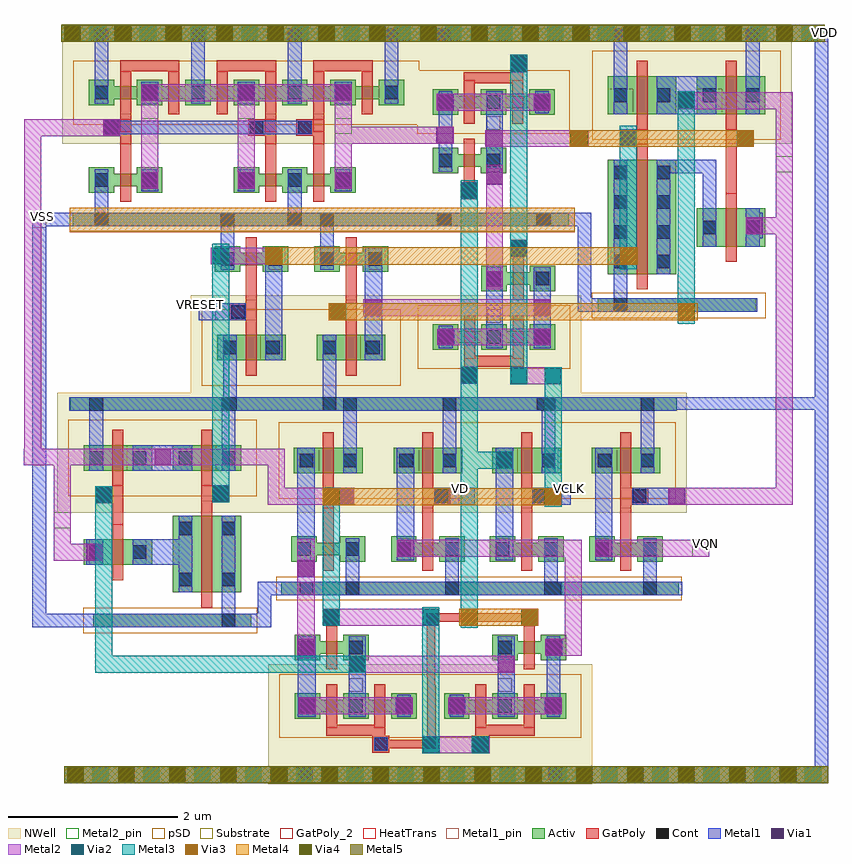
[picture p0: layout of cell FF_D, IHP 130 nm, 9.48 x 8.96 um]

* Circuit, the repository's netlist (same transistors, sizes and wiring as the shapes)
* Extracted by KLayout with SG13G2 LVS runset on : 26/01/2026 22:16

.SUBCKT FF_D VRESET VD VCLK
X$159 \$4 VRESET \$5 \$I24 INV_D1
X$161 \$4 VCLK \$5 \$I21 INV_D1
X$163 \$4 \$I23 \$5 \$I25 INV_D1
X$164 VCLK \$I21 \$5 \$4 \$I27 \$I28 TG_2C
X$168 \$I21 VCLK \$5 \$4 \$I27 \$I26 TG_2C
X$170 \$4 \$5 \$I24 \$I27 \$I22 NAND_D2
X$172 \$4 VD \$5 \$I26 INV_D1
X$175 \$4 \$I22 \$5 \$I28 INV_D1
X$183 \$I21 VCLK \$5 \$4 \$I29 \$I30 TG_2C
X$186 VCLK \$I21 \$5 \$4 \$I29 \$I31 TG_2C
X$189 \$I29 \$I24 \$5 \$4 \$I23 NAND_D3
X$197 \$4 \$I23 \$5 \$I31 INV_D1
X$198 \$I22 \$4 \$I30 \$5 INV_D3
.ENDS FF_D

.SUBCKT NAND_D2 \$1 \$2 VB VA \$5
M$1 \$5 VA \$6 \$1 sg13_lv_nmos L=0.13u W=0.3u AS=0.102p AD=0.102p PS=1.28u
+ PD=1.28u
M$2 \$6 VB \$1 \$1 sg13_lv_nmos L=0.13u W=0.9u AS=0.306p AD=0.306p PS=2.48u
+ PD=2.48u
M$3 \$5 VB \$2 \$2 sg13_lv_pmos L=0.13u W=0.3u AS=0.102p AD=0.102p PS=1.28u
+ PD=1.28u
M$4 \$2 VA \$5 \$2 sg13_lv_pmos L=0.13u W=0.3u AS=0.102p AD=0.102p PS=1.28u
+ PD=1.28u
.ENDS NAND_D2

.SUBCKT INV_D3 \$1 \$2 \$4 \$10
M$1 \$4 \$1 \$2 \$2 sg13_lv_nmos L=0.13u W=0.45u AS=0.2565p AD=0.2565p PS=3.42u
+ PD=3.42u
M$4 \$10 \$1 \$4 \$10 sg13_lv_pmos L=0.13u W=0.9u AS=0.378p AD=0.378p PS=5.04u
+ PD=5.04u
.ENDS INV_D3

.SUBCKT TG_2C \$1 \$2 \$3 \$4 VOUT VIN
M$1 VIN \$2 VOUT \$3 sg13_lv_pmos L=0.13u W=0.3u AS=0.156p AD=0.156p PS=2.08u
+ PD=2.08u
M$3 VIN \$1 VOUT \$4 sg13_lv_nmos L=0.13u W=0.15u AS=0.1005p AD=0.1005p
+ PS=1.34u PD=1.34u
.ENDS TG_2C

.SUBCKT INV_D1 \$1 VIN \$3 VOUT
M$1 \$3 VIN VOUT \$3 sg13_lv_pmos L=0.13u W=0.3u AS=0.102p AD=0.102p PS=1.28u
+ PD=1.28u
M$2 \$1 VIN VOUT \$1 sg13_lv_nmos L=0.13u W=0.15u AS=0.1005p AD=0.1005p
+ PS=1.34u PD=1.34u
.ENDS INV_D1

.SUBCKT NAND_D3 VA VB \$3 \$4 \$5
M$1 \$5 VA \$6 \$4 sg13_lv_nmos L=0.13u W=0.45u AS=0.153p AD=0.153p PS=1.58u
+ PD=1.58u
M$2 \$6 VB \$4 \$4 sg13_lv_nmos L=0.13u W=1.35u AS=0.459p AD=0.459p PS=3.38u
+ PD=3.38u
M$3 \$3 VA \$5 \$3 sg13_lv_pmos L=0.13u W=0.45u AS=0.153p AD=0.153p PS=1.58u
+ PD=1.58u
M$4 \$5 VB \$3 \$3 sg13_lv_pmos L=0.13u W=0.45u AS=0.153p AD=0.153p PS=1.58u
+ PD=1.58u
.ENDS NAND_D3

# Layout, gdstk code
from math import pi, radians
import gdstk
lib = gdstk.Library(unit=1e-6, precision=5e-09)
def R(c, l, rs):  # rectangles x0, y0, x1, y1
    for r in rs: c.add(gdstk.rectangle(r[:2], r[2:], *l))
def A(c, l, x, y, w, h, nx, ny, dx, dy):  # array of equal rectangles
    R(c, l, [(x+i*dx, y+j*dy, x+i*dx+w, y+j*dy+h) for i in range(nx) for j in range(ny)])
Activ = (1, 0)
GatPoly = (5, 0)
GatPoly_2 = (5, 2)
Cont = (6, 0)
Metal1 = (8, 0)
Metal1_pin = (8, 2)
Metal2 = (10, 0)
Metal2_pin = (10, 2)
pSD = (14, 0)
Via1 = (19, 0)
Via2 = (29, 0)
Metal3 = (30, 0)
NWell = (31, 0)
Substrate = (40, 0)
Via3 = (49, 0)
Metal4 = (50, 0)
HeatTrans = (51, 0)
Via4 = (66, 0)
Metal5 = (67, 0)

pmos_3 = lib.new_cell('pmos$3')
R(pmos_3, Activ, [(0,0,0.3,0.3), (0,0,0.81,0.45), (0.51,0,0.81,0.3)])
R(pmos_3, GatPoly, [(0.34,-0.18,0.47,0.63), (0.34,-0.18,0.47,0.63)])
R(pmos_3, Cont, [(0.07,0.145,0.23,0.305), (0.58,0.145,0.74,0.305)])
R(pmos_3, Metal1, [(0.07,0,0.23,0.45), (0.07,0,0.23,0.45), (0.58,0,0.74,0.45), (0.58,0,0.74,0.45)])
R(pmos_3, pSD, [(-0.18,-0.3,0.99,0.75)])
R(pmos_3, NWell, [(-0.31,-0.345,1.12,0.76)])
R(pmos_3, Substrate, [(0.51,0,0.81,0.3)])
R(pmos_3, HeatTrans, [(0.34,-0.18,0.47,0.63)])
pmos_3.add(gdstk.Label('pmos', (0.405,0.225), layer=63, texttype=0))
pmos_3.add(gdstk.Label('pmos', (0.405,0.225), layer=51, texttype=0))

nmos_1_1 = lib.new_cell('nmos$1$1')
R(nmos_1_1, Activ, [(0,0,0.3,0.3), (0,0,0.81,1.35), (0.51,0,0.81,0.3)])
R(nmos_1_1, GatPoly, [(0.34,-0.18,0.47,1.53)])
R(nmos_1_1, GatPoly_2, [(0.34,-0.18,0.47,1.53)])
A(nmos_1_1, Cont, 0.07, 0.07, 0.16, 0.16, 1, 4, 0, 0.35)
A(nmos_1_1, Cont, 0.58, 0.07, 0.16, 0.16, 1, 4, 0, 0.35)
R(nmos_1_1, Metal1, [(0.07,0,0.23,1.35), (0.58,0,0.74,1.35)])
R(nmos_1_1, Metal1_pin, [(0.07,0,0.23,1.35), (0.58,0,0.74,1.35)])
R(nmos_1_1, HeatTrans, [(0.34,-0.18,0.47,1.53)])
nmos_1_1.add(gdstk.Label('nmos', (0.405,0.675), layer=63, texttype=0))
nmos_1_1.add(gdstk.Label('nmos', (0.405,0.675), layer=51, texttype=0))

nmos_4 = lib.new_cell('nmos$4')
R(nmos_4, Activ, [(0,0,0.3,0.3), (0,0,0.81,0.45), (0.51,0,0.81,0.3)])
R(nmos_4, GatPoly, [(0.34,-0.18,0.47,0.63)])
R(nmos_4, GatPoly_2, [(0.34,-0.18,0.47,0.63)])
R(nmos_4, Cont, [(0.07,0.145,0.23,0.305), (0.58,0.145,0.74,0.305)])
R(nmos_4, Metal1, [(0.07,0,0.23,0.45), (0.58,0,0.74,0.45)])
R(nmos_4, Metal1_pin, [(0.07,0,0.23,0.45), (0.58,0,0.74,0.45)])
R(nmos_4, HeatTrans, [(0.34,-0.18,0.47,0.63)])
nmos_4.add(gdstk.Label('nmos', (0.405,0.225), layer=63, texttype=0))
nmos_4.add(gdstk.Label('nmos', (0.405,0.225), layer=51, texttype=0))

nand_d3 = lib.new_cell('NAND_D3')
R(nand_d3, Activ, [(-0.055,-1.08,1.805,-0.92), (0.04,2.105,1.9,2.265)])
R(nand_d3, GatPoly, [(1.45,0.31,1.58,1.07), (0.4,0.78,0.53,1.07), (1.58,0.865,1.78,1.065), (0.2,0.875,0.4,1.075)])
R(nand_d3, Cont, [(0.13,-1.08,0.29,-0.92), (1.595,0.885,1.755,1.045), (0.22,0.895,0.38,1.055), (0.13,2.105,0.29,2.265), (1.69,2.105,1.85,2.265)])
R(nand_d3, Metal1, [(0.13,-1.08,0.29,-0.545), (1.69,-0.21,1.89,0.09), (1.595,0.885,1.755,1.045), (0.22,0.895,0.38,1.055), (0.64,1.25,1.34,1.7), (0.13,1.55,0.29,2.265), (1.69,1.55,1.85,2.265)])
R(nand_d3, Metal1_pin, [(0.13,-1.08,0.29,-0.92), (1.595,0.885,1.755,1.045), (0.22,0.895,0.38,1.055), (0.13,2.105,0.29,2.265), (1.69,2.105,1.85,2.265)])
R(nand_d3, Metal2, [(1.69,-0.165,2.24,0.035)])
R(nand_d3, Metal2_pin, [(2.04,0.565,2.24,0.755)])
R(nand_d3, pSD, [(-0.13,-1.155,1.925,-0.855)])
R(nand_d3, Via1, [(1.69,-0.16,1.88,0.03), (0.89,1.315,1.08,1.505)])
R(nand_d3, NWell, [(-0.25,2.01,2.23,2.315)])
nand_d3.add(gdstk.FlexPath([(1.26,0.13),(1.26,0.635),(0.72,0.635),(0.72,0.44)], 0.16, ends="flush", simple_path=True, layer=8, datatype=0))  # Metal1
nand_d3.add(gdstk.FlexPath([(0.885,1.41),(2.14,1.41),(2.14,-0.165)], 0.2, ends="flush", simple_path=True, layer=10, datatype=0))  # Metal2
nand_d3.add(gdstk.Reference(pmos_3, (1.92,1.25), rotation=pi, x_reflection=True))
nand_d3.add(gdstk.Reference(pmos_3, (0.87,1.25), rotation=pi, x_reflection=True))
nand_d3.add(gdstk.Reference(nmos_1_1, (0.87,-0.635), rotation=pi, x_reflection=True))
nand_d3.add(gdstk.Reference(nmos_4, (1.92,-0.31), rotation=pi, x_reflection=True))
nand_d3.add(gdstk.Label('VA', (1.67,0.98), layer=8, texttype=2))
nand_d3.add(gdstk.Label('VB', (0.305,0.99), layer=8, texttype=2))
nand_d3.add(gdstk.Label('VDD', (1.715,2.225), layer=8, texttype=2))
nand_d3.add(gdstk.Label('VDD', (0.155,2.225), layer=8, texttype=2))
nand_d3.add(gdstk.Label('VSS', (0.2,-0.955), layer=8, texttype=2))
nand_d3.add(gdstk.Label('VOUT', (2.185,0.7), layer=10, texttype=2))
nand_d3.add(gdstk.Label('VB', (0.33,1), layer=8, texttype=25))
nand_d3.add(gdstk.Label('VA', (1.7,0.94), layer=8, texttype=25))

nmos_3 = lib.new_cell('nmos$3')
R(nmos_3, Activ, [(0,-0.05,0.3,0.25), (0.57,-0.05,0.87,0.25), (0,0.025,0.87,0.175)])
R(nmos_3, GatPoly, [(0.37,-0.155,0.5,0.585)])
R(nmos_3, GatPoly_2, [(0.37,-0.155,0.5,0.585)])
R(nmos_3, Cont, [(0.07,0.02,0.23,0.18), (0.64,0.02,0.8,0.18)])
R(nmos_3, Metal1, [(0.07,-0.03,0.23,0.23), (0.64,-0.03,0.8,0.23)])
R(nmos_3, Metal1_pin, [(0.07,-0.03,0.23,0.23), (0.64,-0.03,0.8,0.23)])
R(nmos_3, HeatTrans, [(0.37,-0.155,0.5,0.585)])
nmos_3.add(gdstk.Label('nmos', (0.435,0.1), layer=63, texttype=0))
nmos_3.add(gdstk.Label('nmos', (0.435,0.1), layer=51, texttype=0))

pmos_1 = lib.new_cell('pmos$1')
R(pmos_1, Activ, [(0,0.205,0.81,0.505), (0,0.205,0.3,0.505), (0.51,0.205,0.81,0.505)])
R(pmos_1, GatPoly, [(0.34,0.025,0.47,0.685), (0.34,0.025,0.47,0.685)])
R(pmos_1, Cont, [(0.07,0.275,0.23,0.435), (0.58,0.275,0.74,0.435)])
R(pmos_1, Metal1, [(0.07,0.205,0.23,0.505), (0.07,0.205,0.23,0.505), (0.58,0.205,0.74,0.505), (0.58,0.205,0.74,0.505)])
R(pmos_1, pSD, [(-0.18,-0.095,0.99,0.805)])
R(pmos_1, NWell, [(-0.31,-0.26,1.12,0.815)])
R(pmos_1, Substrate, [(0.51,0.205,0.81,0.505)])
R(pmos_1, HeatTrans, [(0.34,0.025,0.47,0.685)])
pmos_1.add(gdstk.Label('pmos', (0.405,0.355), layer=63, texttype=0))
pmos_1.add(gdstk.Label('pmos', (0.405,0.355), layer=51, texttype=0))

inv_d1 = lib.new_cell('INV_D1')
R(inv_d1, Activ, [(-0.63,-1.05,0.545,-0.89), (-0.61,1.125,0.55,1.285)])
R(inv_d1, GatPoly, [(-0.075,-0.02,0.055,0.21), (-0.275,0.02,-0.075,0.22)])
R(inv_d1, Cont, [(-0.375,-1.05,-0.215,-0.89), (-0.25,0.04,-0.09,0.2), (-0.345,1.125,-0.185,1.285)])
R(inv_d1, Metal1, [(-0.375,-1.05,-0.215,-0.635), (0.15,-0.64,0.355,0.69), (-0.255,0.035,-0.085,0.205), (-0.345,0.69,-0.185,1.285)])
R(inv_d1, Metal1_pin, [(-0.375,-1.05,-0.215,-0.89), (-0.345,1.125,-0.185,1.285)])
R(inv_d1, pSD, [(-0.67,-1.11,0.6,-0.83)])
R(inv_d1, NWell, [(-0.725,1,0.705,1.335)])
inv_d1.add(gdstk.Reference(nmos_3, (-0.445,-0.605)))
inv_d1.add(gdstk.Reference(pmos_1, (-0.415,0.185)))
inv_d1.add(gdstk.Label('VDD', (-0.215,1.26), layer=8, texttype=2))
inv_d1.add(gdstk.Label('VSS', (-0.26,-0.915), layer=8, texttype=2))
inv_d1.add(gdstk.Label('VIN', (-0.17,0.135), layer=8, texttype=25))
inv_d1.add(gdstk.Label('VOUT', (0.255,0.145), layer=8, texttype=25))

nmos = lib.new_cell('nmos')
R(nmos, Activ, [(0,0.025,0.3,0.325), (0.57,0.025,0.87,0.325), (0,0.1,0.87,0.25)])
R(nmos, GatPoly, [(0.37,-0.08,0.5,0.43)])
R(nmos, GatPoly_2, [(0.37,-0.08,0.5,0.43)])
R(nmos, Cont, [(0.07,0.095,0.23,0.255), (0.64,0.095,0.8,0.255)])
R(nmos, Metal1, [(0.07,0.045,0.23,0.305), (0.64,0.045,0.8,0.305)])
R(nmos, Metal1_pin, [(0.07,0.045,0.23,0.305), (0.64,0.045,0.8,0.305)])
R(nmos, HeatTrans, [(0.37,-0.08,0.5,0.43)])
nmos.add(gdstk.Label('nmos', (0.435,0.175), layer=63, texttype=0))
nmos.add(gdstk.Label('nmos', (0.435,0.175), layer=51, texttype=0))

pmos = lib.new_cell('pmos')
R(pmos, Activ, [(0,-0.04,0.3,0.26), (0.57,-0.04,0.87,0.26), (0,0.035,0.87,0.185)])
R(pmos, GatPoly, [(0.37,-0.145,0.5,0.365), (0.37,-0.145,0.5,0.365)])
R(pmos, Cont, [(0.07,0.03,0.23,0.19), (0.64,0.03,0.8,0.19)])
R(pmos, Metal1, [(0.07,-0.02,0.23,0.24), (0.07,-0.02,0.23,0.24), (0.64,-0.02,0.8,0.24), (0.64,-0.02,0.8,0.24)])
R(pmos, pSD, [(-0.18,-0.265,1.05,0.485)])
R(pmos, NWell, [(-0.31,-0.38,1.18,0.545)])
R(pmos, Substrate, [(0.57,-0.04,0.87,0.26)])
R(pmos, HeatTrans, [(0.37,-0.145,0.5,0.365)])
pmos.add(gdstk.Label('pmos', (0.435,0.11), layer=63, texttype=0))
pmos.add(gdstk.Label('pmos', (0.435,0.11), layer=51, texttype=0))

tg_2c = lib.new_cell('TG_2C')
R(tg_2c, Activ, [(0.15,-0.17,1.91,-0.01), (0.03,2.005,2.035,2.165)])
R(tg_2c, GatPoly, [(0.64,0.15,0.84,0.35), (1.225,1.645,1.425,1.845)])
R(tg_2c, Cont, [(0.37,-0.17,0.53,-0.01), (0.66,0.17,0.82,0.33), (1.245,1.665,1.405,1.825), (0.36,2.005,0.52,2.165)])
R(tg_2c, Metal1, [(0.15,-0.17,1.91,-0.01), (0.66,0.17,0.82,0.33), (0.36,1.195,0.56,1.395), (1.5,1.195,1.7,1.395), (1.245,1.665,1.405,1.825), (0.03,2.005,2.35,2.165)])
R(tg_2c, Metal1_pin, [(0.355,-0.17,0.52,-0.01), (0.66,0.17,0.82,0.33), (0.95,0.97,1.11,1.125), (1.245,1.665,1.405,1.825), (0.355,2.005,0.53,2.165)])
R(tg_2c, Metal2, [(0.36,1.195,1.7,1.395)])
R(tg_2c, Metal2_pin, [(0.36,1.195,0.56,1.395)])
R(tg_2c, pSD, [(0.09,-0.23,1.985,0.05)])
R(tg_2c, Via1, [(0.365,1.2,0.555,1.39), (1.505,1.2,1.695,1.39)])
R(tg_2c, NWell, [(0,1.66,2.06,2.215)])
tg_2c.add(gdstk.FlexPath([(0.745,1.48),(0.745,1.58),(1.315,1.58),(1.315,1.48)], 0.13, ends="flush", simple_path=True, layer=5, datatype=0))  # GatPoly
tg_2c.add(gdstk.FlexPath([(0.46,1.425),(0.46,0.735)], 0.16, ends="flush", simple_path=True, layer=8, datatype=0))  # Metal1
tg_2c.add(gdstk.FlexPath([(1.03,1.425),(1.03,0.735)], 0.16, ends="flush", simple_path=True, layer=8, datatype=0))  # Metal1
tg_2c.add(gdstk.Reference(nmos, (0.31,0.43)))
tg_2c.add(gdstk.Reference(pmos, (0.31,1.185)))
tg_2c.add(gdstk.Reference(pmos, (0.88,1.185)))
tg_2c.add(gdstk.Label('VOUT', (1.065,1.07), layer=8, texttype=2))
tg_2c.add(gdstk.Label('VSS', (0.455,-0.06), layer=8, texttype=2))
tg_2c.add(gdstk.Label('VDD', (0.465,2.125), layer=8, texttype=2))
tg_2c.add(gdstk.Label('VIN', (0.505,1.36), layer=10, texttype=2))
tg_2c.add(gdstk.Label('VOUT', (1.065,1.015), layer=8, texttype=25))
tg_2c.add(gdstk.Label('VIN', (0.52,1.29), layer=10, texttype=25))

nmos_5 = lib.new_cell('nmos$5')
R(nmos_5, Activ, [(0,0,0.3,0.3), (0.57,0,0.87,0.3), (0,0.075,0.87,0.225)])
R(nmos_5, GatPoly, [(0.37,-0.105,0.5,0.58)])
R(nmos_5, GatPoly_2, [(0.37,-0.105,0.5,0.58)])
R(nmos_5, Cont, [(0.07,0.07,0.23,0.23), (0.64,0.07,0.8,0.23)])
R(nmos_5, Metal1, [(0.07,0.02,0.23,0.28), (0.64,0.02,0.8,0.28)])
R(nmos_5, Metal1_pin, [(0.07,0.02,0.23,0.28), (0.64,0.02,0.8,0.28)])
R(nmos_5, HeatTrans, [(0.37,-0.105,0.5,0.58)])
nmos_5.add(gdstk.Label('nmos', (0.435,0.15), layer=63, texttype=0))
nmos_5.add(gdstk.Label('nmos', (0.435,0.15), layer=51, texttype=0))

pmos_4 = lib.new_cell('pmos$4')
R(pmos_4, Activ, [(0,0.175,0.3,0.475), (0.57,0.175,0.87,0.475), (0,0.25,0.87,0.4)])
R(pmos_4, GatPoly, [(0.37,0.07,0.5,0.58), (0.37,0.07,0.5,0.58)])
R(pmos_4, Cont, [(0.07,0.245,0.23,0.405), (0.64,0.245,0.8,0.405)])
R(pmos_4, Metal1, [(0.07,0.195,0.23,0.455), (0.07,0.195,0.23,0.455), (0.64,0.195,0.8,0.455), (0.64,0.195,0.8,0.455)])
R(pmos_4, pSD, [(-0.18,-0.05,1.05,0.7)])
R(pmos_4, NWell, [(-0.31,-0.275,1.18,0.845)])
R(pmos_4, Substrate, [(0.57,0.175,0.87,0.475)])
R(pmos_4, HeatTrans, [(0.37,0.07,0.5,0.58)])
pmos_4.add(gdstk.Label('pmos', (0.435,0.325), layer=63, texttype=0))
pmos_4.add(gdstk.Label('pmos', (0.435,0.325), layer=51, texttype=0))

inv = lib.new_cell('INV')
R(inv, Activ, [(-0.6,-1.01,1.235,-0.85), (-0.6,1.165,1.2,1.325)])
R(inv, GatPoly, [(-0.045,-0.035,0.085,0.31), (-0.045,0.82,0.655,0.95)])
R(inv, GatPoly_2, [(-0.045,0.105,0.085,0.255)])
R(inv, Cont, [(-0.345,-1.01,-0.185,-0.85), (-0.345,1.165,-0.185,1.325), (0.795,1.165,0.955,1.325)])
R(inv, Metal1, [(-0.345,-1.01,-0.185,-0.595), (0.205,-0.595,0.405,-0.335), (-0.345,0.435,-0.185,1.325), (0.205,0.435,0.405,0.695), (0.795,0.435,0.955,1.325)])
R(inv, Metal1_pin, [(-0.345,-1.01,-0.185,-0.85), (-0.345,1.165,-0.185,1.325), (0.795,1.165,0.955,1.325)])
R(inv, Metal2, [(0.205,-0.57,0.405,0.665)])
R(inv, Metal2_pin, [(0.205,0.08,0.405,0.265)])
R(inv, pSD, [(-0.64,-1.07,1.29,-0.79)])
R(inv, Via1, [(0.205,-0.56,0.395,-0.37), (0.21,0.47,0.4,0.66)])
R(inv, NWell, [(-0.725,1.085,1.335,1.375)])
inv.add(gdstk.Reference(nmos_5, (-0.415,-0.615)))
r = gdstk.Reference(pmos_4, (-0.415,0.24)); r.repetition = gdstk.Repetition(2, 1, v1=(0.57,0), v2=(0,0)); inv.add(r)

inv_d3 = lib.new_cell('INV_D3')
R(inv_d3, GatPoly, [(-1.05,0.2,-0.85,0.4), (0.66,0.2,0.86,0.4), (1.23,0.2,1.43,0.4)])
R(inv_d3, Cont, [(-1.15,-0.865,-0.99,-0.705), (-1.03,0.22,-0.87,0.38), (0.68,0.22,0.84,0.38), (1.25,0.22,1.41,0.38)])
R(inv_d3, Metal1, [(-1.03,0.22,1.41,0.38), (-1.03,0.22,-0.87,0.38), (0.68,0.22,0.84,0.38), (1.25,0.22,1.41,0.38)])
R(inv_d3, Metal1_pin, [(-1.15,-0.865,-0.99,-0.705), (-1.03,0.22,-0.87,0.38), (0.68,0.22,0.84,0.38), (1.25,0.22,1.41,0.38), (-1.15,1.31,-0.99,1.47)])
R(inv_d3, Metal2, [(-0.6,0.61,1.88,0.81)])
r = gdstk.Reference(inv, (-0.805,0.145)); r.repetition = gdstk.Repetition(2, 1, v1=(2.28,0), v2=(0,0)); inv_d3.add(r)
inv_d3.add(gdstk.Reference(inv, (0.945,0.145), rotation=pi, x_reflection=True))
inv_d3.add(gdstk.Label('VIN', (-0.92,0.33), layer=8, texttype=2))
inv_d3.add(gdstk.Label('VIN', (-0.92,0.33), layer=8, texttype=2))
inv_d3.add(gdstk.Label('VIN', (-0.92,0.33), layer=8, texttype=2))
inv_d3.add(gdstk.Label('VDD', (-1.02,1.445), layer=8, texttype=2))
inv_d3.add(gdstk.Label('VSS', (-1.035,-0.73), layer=8, texttype=2))
inv_d3.add(gdstk.Label('VOUT', (1.83,0.365), layer=10, texttype=2))

via1_constraint = lib.new_cell('VIA1_constraint')
R(via1_constraint, Metal1, [(-0.005,-0.005,0.195,0.195)])
R(via1_constraint, Metal2, [(-0.005,-0.005,0.195,0.195)])
R(via1_constraint, Via1, [(0,0,0.19,0.19)])

via2_constraint = lib.new_cell('VIA2_constraint')
R(via2_constraint, Metal2, [(0.04,-0.57,0.24,-0.37)])
R(via2_constraint, Via2, [(0.045,-0.565,0.235,-0.375)])
R(via2_constraint, Metal3, [(0.04,-0.57,0.24,-0.37)])

via3_constraint = lib.new_cell('VIA3_constraint')
R(via3_constraint, Metal3, [(-0.005,-0.005,0.195,0.195)])
R(via3_constraint, Via3, [(0,0,0.19,0.19)])
R(via3_constraint, Metal4, [(-0.005,-0.005,0.195,0.195)])

half_b = lib.new_cell('HALF_B')
R(half_b, Metal1, [(0.115,-4.325,4.09,-4.165), (6.405,-4.325,8.28,-4.165), (4.995,-3.585,5.195,-2.635), (0.105,-2.15,4.21,-1.99), (4.995,-1.505,5.195,-0.55), (5.56,-1.505,5.76,-0.555), (6.31,-1.14,8.19,-0.98), (2.8,0.025,4.09,0.185)])
R(half_b, Metal2, [(3.21,-3.165,4.615,-2.965), (4.985,-3.125,6.205,-2.925), (4.995,-2.715,5.195,-1.245), (3.545,-1.13,5.76,-0.93)])
R(half_b, Metal3, [(5.28,-4.01,5.48,-1.625), (7.255,-3.58,7.455,-0.84), (4.695,-2.53,4.895,-0.13), (4.695,-2.53,4.895,-0.13)])
R(half_b, Metal4, [(5.98,-3.125,8.15,-2.925), (3.145,-1.08,7.49,-0.88)])
half_b.add(gdstk.Reference(nand_d3, (6.37,-2.06), x_reflection=True))
half_b.add(gdstk.Reference(inv_d1, (3.415,-1.1)))
half_b.add(gdstk.Reference(tg_2c, (4.055,-2.16), x_reflection=True))
half_b.add(gdstk.Reference(tg_2c, (6.12,-1.98), rotation=pi, x_reflection=True))
half_b.add(gdstk.Reference(inv_d3, (1.53,-2.855), x_reflection=True))
half_b.add(gdstk.Reference(via1_constraint, (5.475,-4), rotation=pi, x_reflection=True))
half_b.add(gdstk.Reference(via1_constraint, (5.19,-2.485), rotation=pi))
half_b.add(gdstk.Reference(via1_constraint, (4.415,-3.16)))
half_b.add(gdstk.Reference(via1_constraint, (3.57,-1.125)))
half_b.add(gdstk.Reference(via2_constraint, (4.655,0.235)))
half_b.add(gdstk.Reference(via1_constraint, (5.475,-1.825), rotation=pi, x_reflection=True))
half_b.add(gdstk.Reference(via1_constraint, (4.7,-2.505)))
half_b.add(gdstk.Reference(via2_constraint, (4.655,-1.94)))
half_b.add(gdstk.Reference(via2_constraint, (4.655,0.235)))
half_b.add(gdstk.Reference(via1_constraint, (4.7,-2.505)))
half_b.add(gdstk.Reference(via2_constraint, (4.655,-1.94)))
half_b.add(gdstk.Reference(via2_constraint, (7.215,-3.01)))
half_b.add(gdstk.Reference(via1_constraint, (3.15,-1.075)))
half_b.add(gdstk.Reference(via2_constraint, (3.105,-0.51)))
half_b.add(gdstk.Reference(via3_constraint, (3.15,-1.075)))
half_b.add(gdstk.Reference(via3_constraint, (7.26,-1.07)))
half_b.add(gdstk.Reference(via1_constraint, (5.19,-1.27), rotation=pi))
half_b.add(gdstk.Reference(via1_constraint, (5.565,-1.125)))
half_b.add(gdstk.Reference(via1_constraint, (4.7,-0.33)))
half_b.add(gdstk.Reference(via2_constraint, (5.24,-1.26)))
half_b.add(gdstk.Reference(via2_constraint, (5.24,-3.435)))
half_b.add(gdstk.Reference(via1_constraint, (5,-3.12)))
half_b.add(gdstk.Reference(via2_constraint, (5.955,-2.555)))
half_b.add(gdstk.Reference(via3_constraint, (6,-3.12)))
half_b.add(gdstk.Reference(via1_constraint, (7.955,-3.12)))
half_b.add(gdstk.Reference(via2_constraint, (7.91,-2.555)))
half_b.add(gdstk.Reference(via3_constraint, (7.955,-3.12)))

pmos_2 = lib.new_cell('pmos$2')
R(pmos_2, Activ, [(0,0,0.81,0.3), (0,0,0.3,0.3), (0.51,0,0.81,0.3)])
R(pmos_2, GatPoly, [(0.34,-0.18,0.47,0.48), (0.34,-0.18,0.47,0.48)])
R(pmos_2, Cont, [(0.07,0.07,0.23,0.23), (0.58,0.07,0.74,0.23)])
R(pmos_2, Metal1, [(0.07,0,0.23,0.3), (0.07,0,0.23,0.3), (0.58,0,0.74,0.3), (0.58,0,0.74,0.3)])
R(pmos_2, pSD, [(-0.18,-0.3,0.99,0.6)])
R(pmos_2, NWell, [(-0.31,-0.31,1.12,0.61)])
R(pmos_2, Substrate, [(0.51,0,0.81,0.3)])
R(pmos_2, HeatTrans, [(0.34,-0.18,0.47,0.48)])
pmos_2.add(gdstk.Label('pmos', (0.405,0.15), layer=63, texttype=0))
pmos_2.add(gdstk.Label('pmos', (0.405,0.15), layer=51, texttype=0))

nmos_1 = lib.new_cell('nmos$1')
R(nmos_1, Activ, [(0,0,0.81,0.9), (0,0,0.3,0.3), (0.51,0,0.81,0.3)])
R(nmos_1, GatPoly, [(0.34,-0.18,0.47,1.08)])
R(nmos_1, GatPoly_2, [(0.34,-0.18,0.47,1.08)])
R(nmos_1, Cont, [(0.07,0.07,0.23,0.23), (0.58,0.07,0.74,0.23), (0.07,0.67,0.23,0.83), (0.58,0.67,0.74,0.83)])
R(nmos_1, Metal1, [(0.07,0,0.23,0.9), (0.58,0,0.74,0.9)])
R(nmos_1, Metal1_pin, [(0.07,0,0.23,0.9), (0.58,0,0.74,0.9)])
R(nmos_1, HeatTrans, [(0.34,-0.18,0.47,1.08)])
nmos_1.add(gdstk.Label('nmos', (0.405,0.45), layer=63, texttype=0))
nmos_1.add(gdstk.Label('nmos', (0.405,0.45), layer=51, texttype=0))

nmos_2 = lib.new_cell('nmos$2')
R(nmos_2, Activ, [(0,0,0.81,0.3), (0,0,0.3,0.3), (0.51,0,0.81,0.3)])
R(nmos_2, GatPoly, [(0.34,-0.18,0.47,0.48)])
R(nmos_2, GatPoly_2, [(0.34,-0.18,0.47,0.48)])
R(nmos_2, Cont, [(0.07,0.07,0.23,0.23), (0.58,0.07,0.74,0.23)])
R(nmos_2, Metal1, [(0.07,0,0.23,0.3), (0.58,0,0.74,0.3)])
R(nmos_2, Metal1_pin, [(0.07,0,0.23,0.3), (0.58,0,0.74,0.3)])
R(nmos_2, HeatTrans, [(0.34,-0.18,0.47,0.48)])
nmos_2.add(gdstk.Label('nmos', (0.405,0.15), layer=63, texttype=0))
nmos_2.add(gdstk.Label('nmos', (0.405,0.15), layer=51, texttype=0))

nand_d2 = lib.new_cell('NAND_D2')
R(nand_d2, Activ, [(-0.055,-0.595,1.805,-0.435), (0.04,1.955,1.9,2.115)])
R(nand_d2, GatPoly, [(1.45,0.44,1.58,1.07), (0.4,0.78,0.53,1.07), (1.58,0.865,1.78,1.065), (0.2,0.875,0.4,1.075)])
R(nand_d2, Cont, [(0.13,-0.595,0.29,-0.435), (1.595,0.885,1.755,1.045), (0.22,0.895,0.38,1.055), (0.13,1.955,0.29,2.115), (1.69,1.955,1.85,2.115)])
R(nand_d2, Metal1, [(-0.055,-0.595,1.805,-0.435), (0.13,-0.595,0.29,-0.185), (0.64,0.14,1.34,0.44), (1.69,0.14,1.89,0.44), (1.595,0.885,1.755,1.045), (0.22,0.895,0.38,1.055), (0.64,1.25,1.34,1.55), (0.13,1.55,0.29,2.115), (1.69,1.55,1.85,2.115)])
R(nand_d2, Metal1_pin, [(0.13,-0.595,0.29,-0.435), (1.595,0.885,1.755,1.045), (0.22,0.895,0.38,1.055), (0.13,1.955,0.29,2.115), (1.69,1.955,1.85,2.115)])
R(nand_d2, Metal2, [(1.69,0.185,2.27,0.385)])
R(nand_d2, Metal2_pin, [(2.07,0.57,2.27,0.76)])
R(nand_d2, pSD, [(-0.13,-0.67,1.925,-0.37)])
R(nand_d2, Via1, [(1.69,0.19,1.88,0.38), (0.89,1.315,1.08,1.505)])
R(nand_d2, NWell, [(-0.25,1.86,2.23,2.165)])
nand_d2.add(gdstk.FlexPath([(0.885,1.41),(2.17,1.41),(2.17,0.185)], 0.2, ends="flush", simple_path=True, layer=10, datatype=0))  # Metal2
nand_d2.add(gdstk.Reference(pmos_2, (1.92,1.25), rotation=pi, x_reflection=True))
nand_d2.add(gdstk.Reference(pmos_2, (0.87,1.25), rotation=pi, x_reflection=True))
nand_d2.add(gdstk.Reference(nmos_1, (0.87,-0.185), rotation=pi, x_reflection=True))
nand_d2.add(gdstk.Reference(nmos_2, (1.92,0.14), rotation=pi, x_reflection=True))
nand_d2.add(gdstk.Label('VA', (1.665,1.02), layer=8, texttype=2))
nand_d2.add(gdstk.Label('VB', (0.32,0.99), layer=8, texttype=2))
nand_d2.add(gdstk.Label('VDD', (1.715,2.075), layer=8, texttype=2))
nand_d2.add(gdstk.Label('VDD', (0.155,2.075), layer=8, texttype=2))
nand_d2.add(gdstk.Label('VSS', (0.2,-0.47), layer=8, texttype=2))
nand_d2.add(gdstk.Label('VOUT', (2.215,0.705), layer=10, texttype=2))
nand_d2.add(gdstk.Label('VA', (1.67,0.9), layer=8, texttype=25))
nand_d2.add(gdstk.Label('VB', (0.28,0.92), layer=8, texttype=25))

half_a = lib.new_cell('HALF_A')
R(half_a, Metal1, [(7.845,4.825,8.045,5.775), (9.605,4.825,9.805,5.775), (10.19,4.825,10.405,5.775), (7.045,6.26,10.655,6.42), (8.315,7.33,8.79,7.53), (8.26,8.435,12.915,8.595)])
R(half_a, Metal2, [(8.14,4.4,8.935,4.6), (7.845,5.345,9.805,5.545), (10.205,5.52,10.41,6.925), (8.735,5.9,10.095,6.1), (9.74,7.33,10.76,7.53), (10.56,7.33,10.76,7.99), (10.56,7.79,11.895,7.99)])
R(half_a, Metal3, [(8.735,4.4,8.935,6.12), (9.605,5.345,12.79,5.545), (12.59,5.345,12.79,7.545)])
half_a.add(gdstk.FlexPath([(7.755,6),(8.835,6),(8.83,4.505),(9.325,4.505)], 0.1, ends="flush", simple_path=True, layer=5, datatype=0))  # GatPoly
half_a.add(gdstk.FlexPath([(7.155,5.545),(7.155,6.815),(9.235,6.815)], 0.2, ends="flush", simple_path=True, layer=10, datatype=0))  # Metal2
half_a.add(gdstk.Reference(inv_d1, (8.88,7.31)))
half_a.add(gdstk.Reference(tg_2c, (6.93,6.25), x_reflection=True))
half_a.add(gdstk.Reference(tg_2c, (10.75,6.25), rotation=pi))
half_a.add(gdstk.Reference(nand_d2, (11.01,6.48)))
half_a.add(gdstk.Reference(via1_constraint, (9.61,5.54), x_reflection=True))
half_a.add(gdstk.Reference(via1_constraint, (8.16,4.595), x_reflection=True))
half_a.add(gdstk.Reference(via1_constraint, (9.915,6.095), x_reflection=True))
half_a.add(gdstk.Reference(via2_constraint, (8.69,4.025), x_reflection=True))
half_a.add(gdstk.Reference(via2_constraint, (8.695,5.53), x_reflection=True))
half_a.add(gdstk.Reference(via1_constraint, (7.85,5.54), x_reflection=True))
half_a.add(gdstk.Reference(via1_constraint, (9.035,6.91), x_reflection=True))
half_a.add(gdstk.Reference(via1_constraint, (7.29,5.55)))
half_a.add(gdstk.Reference(via1_constraint, (9.745,7.335)))
half_a.add(gdstk.Reference(inv_d1, (10.055,7.31)))
half_a.add(gdstk.Reference(via1_constraint, (10.215,6.48)))
half_a.add(gdstk.Reference(via1_constraint, (10.205,5.555)))
half_a.add(gdstk.Reference(via2_constraint, (9.565,5.915)))
half_a.add(gdstk.Reference(via2_constraint, (12.55,7.915)))
half_a.add(gdstk.Reference(via1_constraint, (12.595,7.35)))

ff_d_placement = lib.new_cell('FF_D_placement')
ff_d_placement.add(gdstk.Reference(half_b, (6.22,0.005), x_reflection=True))
ff_d_placement.add(gdstk.Reference(inv_d1, (8.46,1.105), x_reflection=True))
ff_d_placement.add(gdstk.Reference(inv_d1, (11.685,-1.305), rotation=pi, x_reflection=True))
ff_d_placement.add(gdstk.Reference(half_a, (19.4,-8.615), rotation=pi, x_reflection=True))
ff_d_placement.add(gdstk.Reference(inv_d1, (12.855,-1.305), rotation=pi, x_reflection=True))

ff_d_routed = lib.new_cell('FF_D_routed')
R(ff_d_routed, Activ, [(6.315,-0.18,12.31,-0.02), (6.335,4.17,14.615,4.33)])
R(ff_d_routed, Metal1, [(12.355,-2.355,13.53,-2.195), (11.76,-1.285,12.215,-1.085), (12.945,-1.285,13.565,-1.085), (11.775,-1.265,12.21,-1.105), (6.3,-0.18,13.455,-0.02), (6.335,4.17,14.82,4.33)])
R(ff_d_routed, Metal2, [(11.915,-3.07,12.345,-2.87), (12.5,-1.9,13.845,-1.7), (13.365,-1.285,14.83,-1.085), (14.63,-1.285,14.83,2.1), (5.765,-0.825,6.7,-0.625), (5.77,-0.825,5.97,3.255), (11.5,0.135,12.105,0.335), (7.97,1.545,8.815,1.745), (5.77,3.055,6.9,3.255)])
R(ff_d_routed, Metal3, [(10.915,-2.735,11.115,-0.665), (9.29,-2.715,9.49,-1.085), (11.905,-1.31,12.105,0.33), (7.99,-1.26,8.19,1.79), (11.5,0.135,11.7,1.63)])
R(ff_d_routed, Metal4, [(10.9,-2.715,11.83,-2.515), (9.29,-1.295,12.1,-1.095), (8.615,1.54,12.995,1.75)])
ff_d_routed.add(gdstk.FlexPath([(8.445,-2.65),(8.605,-2.65),(8.605,-2.275),(8.755,-2.275)], 0.16, ends="flush", simple_path=True, layer=8, datatype=0))  # Metal1
ff_d_routed.add(gdstk.FlexPath([(12.53,1.065),(12.375,1.065),(12.375,2.075),(12.17,2.075)], 0.16, ends="flush", simple_path=True, layer=8, datatype=0))  # Metal1
ff_d_routed.add(gdstk.FlexPath([(12.89,1.49),(12.89,3.18)], 0.2, ends="flush", simple_path=True, layer=30, datatype=0))  # Metal3
ff_d_routed.add(gdstk.FlexPath([(11.015,0.135),(11.015,-0.765),(11.53,-0.765)], 0.2, ends="flush", simple_path=True, layer=30, datatype=0))  # Metal3
ff_d_routed.add(gdstk.Reference(ff_d_placement, (0,0)))
ff_d_routed.add(gdstk.Reference(via1_constraint, (6.705,3.06)))
ff_d_routed.add(gdstk.Reference(via1_constraint, (13.56,-1.28), rotation=pi, x_reflection=True))
ff_d_routed.add(gdstk.Reference(via1_constraint, (12.505,-1.895)))
ff_d_routed.add(gdstk.Reference(via1_constraint, (8.62,1.55)))
ff_d_routed.add(gdstk.Reference(via2_constraint, (8.575,2.115)))
ff_d_routed.add(gdstk.Reference(via3_constraint, (8.62,1.55)))
ff_d_routed.add(gdstk.Reference(via1_constraint, (12.795,2.945)))
ff_d_routed.add(gdstk.Reference(via3_constraint, (12.795,1.55)))
ff_d_routed.add(gdstk.Reference(via2_constraint, (12.75,3.51)))
ff_d_routed.add(gdstk.Reference(via1_constraint, (7.995,-1.255)))
ff_d_routed.add(gdstk.Reference(via2_constraint, (7.95,-0.69)))
ff_d_routed.add(gdstk.Reference(via2_constraint, (7.95,2.115)))
ff_d_routed.add(gdstk.Reference(via2_constraint, (11.29,-0.295)))
ff_d_routed.add(gdstk.Reference(via1_constraint, (11.335,-0.86)))
ff_d_routed.add(gdstk.Reference(via1_constraint, (11.91,-1.28)))
ff_d_routed.add(gdstk.Reference(via2_constraint, (11.865,-0.715)))
ff_d_routed.add(gdstk.Reference(via2_constraint, (11.865,0.705)))
ff_d_routed.add(gdstk.Reference(via2_constraint, (11.46,0.705)))
ff_d_routed.add(gdstk.Reference(via2_constraint, (11.59,-2.145)))
ff_d_routed.add(gdstk.Reference(via1_constraint, (11.635,-2.71)))
ff_d_routed.add(gdstk.Reference(via3_constraint, (9.295,-1.29)))
ff_d_routed.add(gdstk.Reference(via2_constraint, (11.005,-3.645)))
ff_d_routed.add(gdstk.Reference(via2_constraint, (9.25,-2.145)))
ff_d_routed.add(gdstk.Reference(via3_constraint, (11.905,-1.29)))
ff_d_routed.add(gdstk.Reference(via3_constraint, (10.92,-2.71)))
ff_d_routed.add(gdstk.Reference(via3_constraint, (11.635,-2.71)))

via4_constraint = lib.new_cell('VIA4_constraint')
R(via4_constraint, Metal4, [(0,0,0.2,0.2)])
R(via4_constraint, Via4, [(0.005,0.005,0.195,0.195)])
R(via4_constraint, Metal5, [(0,0,0.2,0.2)])

power_rail_wide = lib.new_cell('Power_Rail_Wide')
R(power_rail_wide, Metal1, [(0,0,1.8,0.2)])
R(power_rail_wide, Metal2, [(0,0,1.805,0.2)])
R(power_rail_wide, Metal3, [(0,0,1.805,0.2)])
R(power_rail_wide, Metal4, [(0,0,1.805,0.2)])
R(power_rail_wide, Metal5, [(0,0,1.805,0.2)])
r = gdstk.Reference(via1_constraint, (0.035,0.005)); r.repetition = gdstk.Repetition(3, 1, v1=(0.6,0), v2=(0,0)); power_rail_wide.add(r)
r = gdstk.Reference(via1_constraint, (0.035,0.005)); r.repetition = gdstk.Repetition(3, 1, v1=(0.6,0), v2=(0,0)); power_rail_wide.add(r)
r = gdstk.Reference(via2_constraint, (0.285,0.57)); r.repetition = gdstk.Repetition(3, 1, v1=(0.6,0), v2=(0,0)); power_rail_wide.add(r)
r = gdstk.Reference(via3_constraint, (0.035,0.005)); r.repetition = gdstk.Repetition(3, 1, v1=(0.6,0), v2=(0,0)); power_rail_wide.add(r)
r = gdstk.Reference(via4_constraint, (0.03,0)); r.repetition = gdstk.Repetition(3, 1, v1=(0.6,0), v2=(0,0)); power_rail_wide.add(r)

ff_d = lib.new_cell('FF_D')
R(ff_d, Metal1, [(9.325,0.01,9.485,8.91), (0.1,1.85,0.85,2.01), (0.1,1.85,0.265,6.735), (4.845,3.295,5.32,3.495), (5.995,3.295,6.45,3.495), (7.655,4.41,9.485,4.56), (2.065,5.465,2.62,5.665), (0.1,6.575,0.615,6.735), (9.05,8.75,9.485,8.91)])
R(ff_d, Metal1_pin, [(5.13,3.295,5.32,3.495), (6.265,3.295,6.45,3.495), (2.065,5.465,2.265,5.665), (0.1,6.56,0.265,6.735), (9.325,8.75,9.485,8.91)])
R(ff_d, Metal2_pin, [(7.88,2.68,8.08,2.88)])
R(ff_d, NWell, [(0.395,3.2,7.815,4.61), (0.455,7.55,9.055,8.96)])
R(ff_d, Metal4, [(0.54,6.505,6.495,6.795)])
ff_d.add(gdstk.Reference(ff_d_routed, (-5.765,4.58)))
r = gdstk.Reference(power_rail_wide, (0.48,0.01)); r.repetition = gdstk.Repetition(5, 1, v1=(1.8,0), v2=(0,0)); ff_d.add(r)
r = gdstk.Reference(power_rail_wide, (0.44,8.75)); r.repetition = gdstk.Repetition(5, 1, v1=(1.8,0), v2=(0,0)); ff_d.add(r)
ff_d.add(gdstk.Label('VCLK', (6.43,3.485), layer=8, texttype=0))
ff_d.add(gdstk.Label('VSS', (0.22,6.685), layer=8, texttype=2))
ff_d.add(gdstk.Label('VDD', (9.435,8.855), layer=8, texttype=2))
ff_d.add(gdstk.Label('VRESET', (2.085,5.65), layer=8, texttype=2))
ff_d.add(gdstk.Label('VD', (5.145,3.48), layer=8, texttype=2))
ff_d.add(gdstk.Label('VQN', (8.035,2.84), layer=10, texttype=2))
ff_d.add(gdstk.Label('VRESET', (2.195,5.615), layer=8, texttype=25))
ff_d.add(gdstk.Label('VD', (5.2,3.415), layer=8, texttype=25))
ff_d.add(gdstk.Label('VCLK', (6.375,3.35), layer=8, texttype=25))

lib.write_gds('FF_D.gds')
